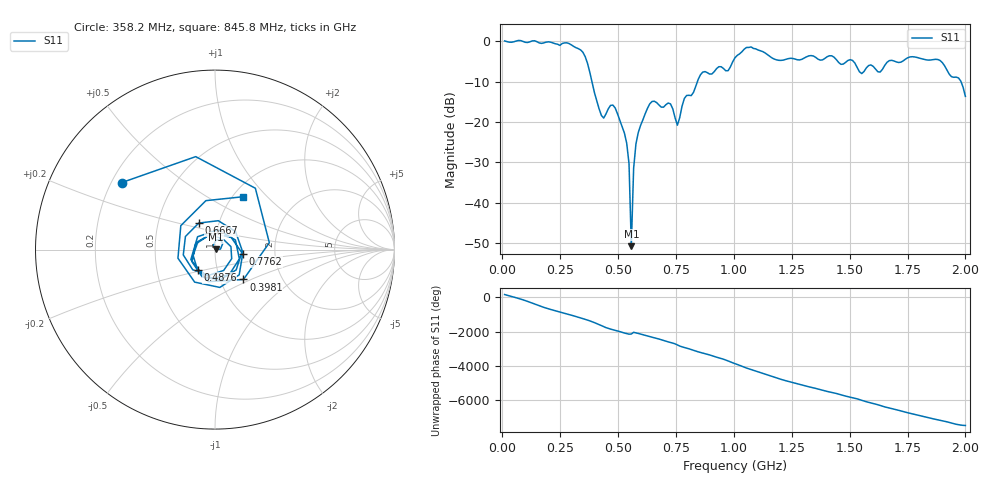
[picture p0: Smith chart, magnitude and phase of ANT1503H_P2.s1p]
!Created with skrf (http://scikit-rf.org).
# Hz S RI R 50.0
!freq ReS11 ImS11
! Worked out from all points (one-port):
!   201 points, 10 MHz to 2 GHz, reference 50 ohm
!   lowest |S11| = -50.7 dB at 557.2 MHz (marker M1), VSWR 1.01, Z = 50.3 + j0.0713 ohm
!   |S11| at or under -10 dB: 386.9 MHz to 842.8 MHz (455.9 MHz wide, 74.2 % of centre); 1.981 GHz to end of sweep
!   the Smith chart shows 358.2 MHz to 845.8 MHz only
!   S11 on the Smith chart (normalised r, x): 358.2 MHz: 0.24, +0.30; 398.1 MHz: 1.29, -0.45; 487.6 MHz: 0.80, -0.18; 666.7 MHz: 0.80, +0.24; 776.1 MHz: 1.36, -0.07; 845.8 MHz: 1.12, +0.74
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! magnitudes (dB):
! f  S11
! 10 MHz  0.0
! 258.8 MHz  -0.6
! 358.2 MHz  -3.9
! 398.1 MHz  -12.8
! 437.9 MHz  -19.0
! 487.6 MHz  -16.5
! 507.5 MHz  -19.6
! 537.4 MHz  -25.3
! 547.3 MHz  -30.3
! 557.2 MHz  -50.7
! 567.2 MHz  -31.5
! 577.1 MHz  -25.4
! 626.9 MHz  -16.6
! 666.7 MHz  -15.2
! 726.4 MHz  -15.5
! 756.2 MHz  -20.8
! 776.1 MHz  -16.1
! 845.8 MHz  -9.5
! 975.1 MHz  -7.3
! 1.005 GHz  -4.1
! 1.075 GHz  -1.5
! 1.254 GHz  -4.3
! 1.502 GHz  -4.6
! 1.552 GHz  -8.0
! 1.751 GHz  -4.1
! 1.891 GHz  -4.8
! 1.98 GHz  -9.9
! 2 GHz  -13.7
